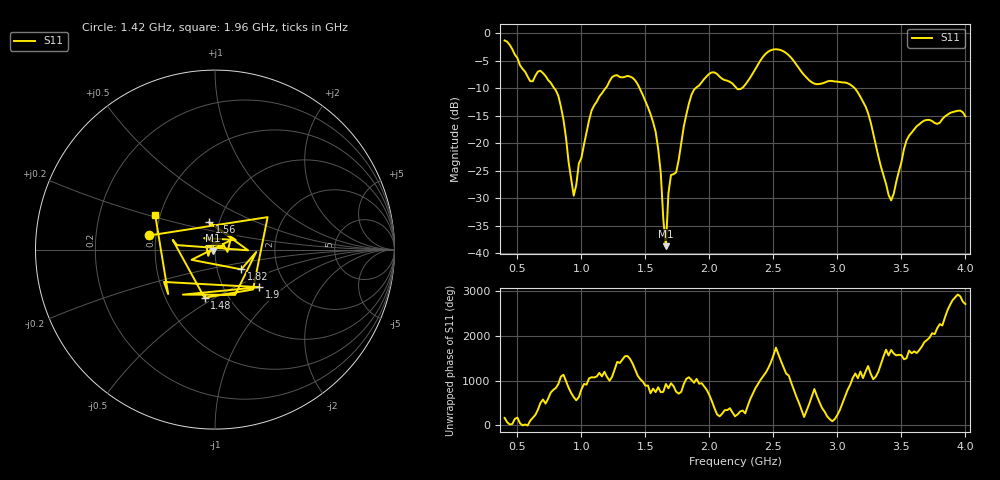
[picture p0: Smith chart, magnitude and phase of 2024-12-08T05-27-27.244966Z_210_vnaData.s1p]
!Created with skrf (http://scikit-rf.org).
# Hz S RI R 50.0
!freq ReS11 ImS11
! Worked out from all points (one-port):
!   181 points, 400 MHz to 4 GHz, reference 50 ohm
!   lowest |S11| = -38.7 dB at 1.66 GHz (marker M1), VSWR 1.02, Z = 49 - j0.51 ohm
!   |S11| at or under -10 dB: 788.9 MHz to 1.188 GHz (399.1 MHz wide, 40.4 % of centre); 1.455 GHz to 1.891 GHz (435.9 MHz wide, 26.1 % of centre); 3.136 GHz to end of sweep (the widest 3 of 4)
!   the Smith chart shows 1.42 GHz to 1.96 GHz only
!   S11 on the Smith chart (normalised r, x): 1.42 GHz: 0.46, +0.08; 1.48 GHz: 0.78, -0.45; 1.56 GHz: 0.89, +0.28; 1.82 GHz: 1.30, -0.30; 1.9 GHz: 1.47, -0.68; 1.96 GHz: 0.47, +0.21
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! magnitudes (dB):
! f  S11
! 400 MHz  -1.3
! 600 MHz  -8.7
! 680 MHz  -6.8
! 760 MHz  -9.0
! 860 MHz  -15.7
! 940 MHz  -29.5
! 1.08 GHz  -14.0
! 1.3 GHz  -7.9
! 1.42 GHz  -8.5
! 1.48 GHz  -11.2
! 1.56 GHz  -16.2
! 1.62 GHz  -25.4
! 1.66 GHz  -38.7
! 1.68 GHz  -29.1
! 1.7 GHz  -25.8
! 1.76 GHz  -23.0
! 1.82 GHz  -14.8
! 1.9 GHz  -9.8
! 1.96 GHz  -8.3
! 2.2 GHz  -9.6
! 2.48 GHz  -3.1
! 2.66 GHz  -5.0
! 2.82 GHz  -9.1
! 3.1 GHz  -9.3
! 3.24 GHz  -14.5
! 3.42 GHz  -30.4
! 3.56 GHz  -18.6
! 4 GHz  -15.1
